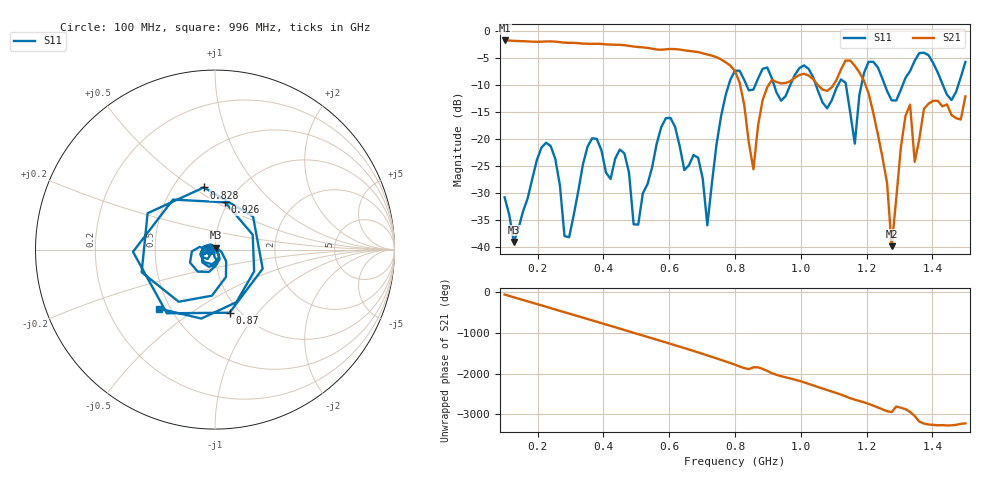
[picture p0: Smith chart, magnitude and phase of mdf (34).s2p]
! NanoVNA-App
! Date: 2025-09-25 15:38:41
! Start: 100MHz Stop: 1,5GHz Points: 101
! S-Parameter data: F S11 S21 S12 S22
# Hz S RI R 50
!  Frequency  S11_Real  S11_Imag  S21_Real  S21_Imag  S12_Real  S12_Imag  S22_Real  S22_Imag
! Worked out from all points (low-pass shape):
!   101 points, 100 MHz to 1.5 GHz, reference 50 ohm
!   highest |S21| = -1.80 dB at 100 MHz (marker M1); lowest = -39.8 dB at 1.276 GHz (marker M2)
!   |S21| within 3 dB of the highest: start of sweep to 739.3 MHz
!   lowest |S11| = -39.0 dB at 128 MHz (marker M3), VSWR 1.02, Z = 50.3 + j1.08 ohm
!   |S11| at or under -10 dB: start of sweep to 781.1 MHz; 918.5 MHz to 968 MHz (49.47 MHz wide, 5.24 % of centre); 1.046 GHz to 1.113 GHz (67.71 MHz wide, 6.27 % of centre) (the widest 3 of 7)
!   S12 and S22 are empty: the file has one direction only
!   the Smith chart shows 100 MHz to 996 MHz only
!   S11 on the Smith chart (normalised r, x): 100 MHz: 0.94, -0.01; 828 MHz: 0.70, +0.56; 870 MHz: 0.90, -0.73; 926 MHz: 0.97, +0.55; 996 MHz: 0.43, -0.36
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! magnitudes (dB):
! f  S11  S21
! 100 MHz  -30.8  -1.8
! 128 MHz  -39.0  -1.9
! 212 MHz  -21.6  -2.0
! 282 MHz  -37.9  -2.2
! 338 MHz  -24.7  -2.4
! 464 MHz  -22.6  -2.7
! 506 MHz  -35.8  -3.0
! 576 MHz  -17.8  -3.5
! 716 MHz  -35.9  -4.4
! 800 MHz  -7.4  -7.5
! 828 MHz  -9.1  -13.7
! 856 MHz  -10.9  -25.6
! 870 MHz  -8.9  -17.5
! 926 MHz  -11.4  -9.5
! 996 MHz  -6.9  -8.2
! 1.038 GHz  -8.6  -9.0
! 1.164 GHz  -20.8  -6.5
! 1.192 GHz  -7.8  -9.3
! 1.276 GHz  -12.9  -39.8
! 1.332 GHz  -7.4  -13.7
! 1.346 GHz  -5.5  -24.2
! 1.5 GHz  -5.8  -12.1
